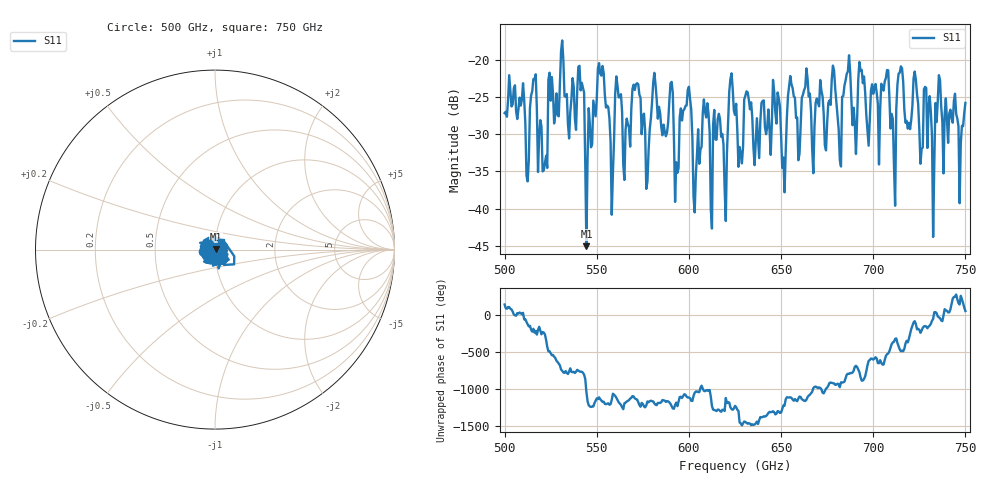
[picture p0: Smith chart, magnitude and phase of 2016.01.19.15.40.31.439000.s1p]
!Created with skrf (http://scikit-rf.org).
# GHz S RI R 50.0
!freq ReS11 ImS11
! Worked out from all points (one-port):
!   401 points, 500 GHz to 750 GHz, reference 50 ohm
!   lowest |S11| = -45.1 dB at 544.4 GHz (marker M1), VSWR 1.01, Z = 50.4 + j0.347 ohm
!   |S11| at or under -10 dB: start of sweep to end of sweep
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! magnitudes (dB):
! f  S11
! 500 GHz  -27.2
! 512.5 GHz  -36.4
! 515.6 GHz  -22.6
! 521.9 GHz  -33.9
! 525 GHz  -25.5
! 531.2 GHz  -17.4
! 541.2 GHz  -24.1
! 544.4 GHz  -45.1
! 551.9 GHz  -21.9
! 558.1 GHz  -40.8
! 562.5 GHz  -25.1
! 577.5 GHz  -36.4
! 581.2 GHz  -21.8
! 590 GHz  -23.2
! 593.8 GHz  -35.2
! 599.4 GHz  -24.0
! 603.1 GHz  -40.5
! 608.8 GHz  -27.0
! 619.4 GHz  -37.3
! 625 GHz  -27.4
! 646.9 GHz  -27.1
! 651.2 GHz  -33.1
! 656.2 GHz  -23.8
! 678.8 GHz  -21.5
! 681.2 GHz  -29.4
! 687.5 GHz  -21.7
! 718.8 GHz  -29.3
! 750 GHz  -25.8
